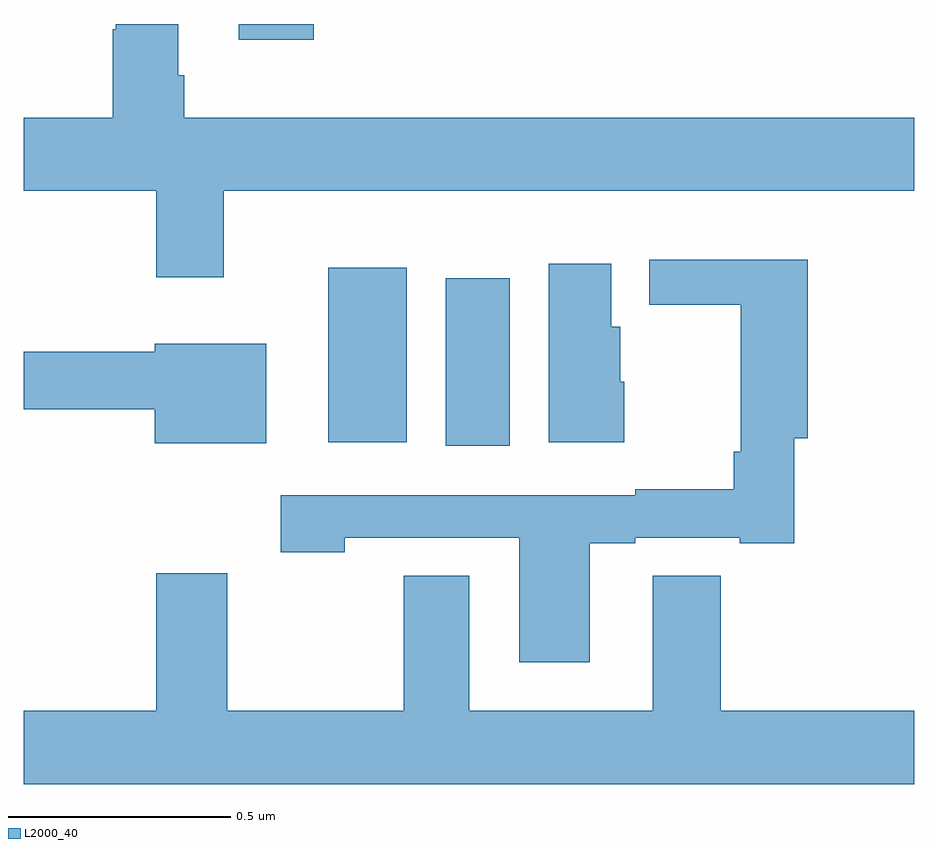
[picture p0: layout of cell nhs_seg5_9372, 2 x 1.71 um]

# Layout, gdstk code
import gdstk
lib = gdstk.Library(unit=1e-6, precision=1e-09)
def R(c, l, rs):  # rectangles x0, y0, x1, y1
    for r in rs: c.add(gdstk.rectangle(r[:2], r[2:], *l))
def P(c, l, *ps):  # polygons
    for p in ps: c.add(gdstk.Polygon(p, *l))
L2000_40 = (2000, 40)

nhs_seg5_9372 = lib.new_cell('nhs_seg5_9372')
R(nhs_seg5_9372, L2000_40, [(233.948,858.852,234.091,859.228), (233.684,858.86,233.86,859.252), (233.483,859.764,233.651,859.799)])
P(nhs_seg5_9372, L2000_40, [(233.449,859.424),(235,859.424),(235,859.588),(233.36,859.588),(233.36,859.684),(233.347,859.684),(233.347,859.799),(233.207,859.799),(233.207,859.787),(233.2,859.787),(233.2,859.588),(233,859.588),(233,859.424),(233.297,859.424),(233.297,859.23),(233.449,859.23)],
  [(234.271,858.633),(234.373,858.633),(234.373,858.645),(234.608,858.645),(234.608,858.633),(234.731,858.633),(234.731,858.869),(234.761,858.869),(234.761,859.27),(234.405,859.27),(234.405,859.168),(234.61,859.168),(234.61,858.838),(234.595,858.838),(234.595,858.754),(234.373,858.754),(234.373,858.741),(233.577,858.741),(233.577,858.613),(233.721,858.613),(233.721,858.645),(234.113,858.645),(234.113,858.366),(234.271,858.366)],
  [(234.349,858.996),(234.34,858.996),(234.34,859.119),(234.319,859.119),(234.319,859.261),(234.179,859.261),(234.179,858.86),(234.349,858.86)],
  [(233.545,859.081),(233.294,859.081),(233.294,859.063),(233,859.063),(233,858.934),(233.294,858.934),(233.294,858.857),(233.545,858.857)],
  [(235,858.256),(234.566,858.256),(234.566,858.56),(234.413,858.56),(234.413,858.256),(234.001,858.256),(234.001,858.56),(233.854,858.56),(233.854,858.256),(233.457,858.256),(233.457,858.565),(233.297,858.565),(233.297,858.256),(233,858.256),(233,858.092),(235,858.092)])

lib.write_gds('nhs_seg5_9372.gds')
